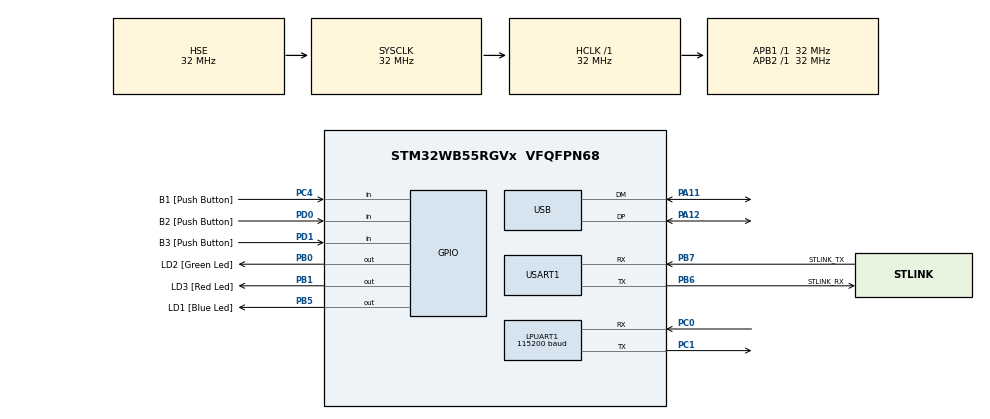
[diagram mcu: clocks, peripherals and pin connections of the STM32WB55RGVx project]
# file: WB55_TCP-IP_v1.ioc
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LPUART1.BaudRate=115200
Mcu.Family=STM32WB
Mcu.Name=STM32WB55RGVx
Mcu.Package=VFQFPN68
NVIC.PriorityGroup=NVIC_PRIORITYGROUP_4
OSC_IN.Mode=HSE-External-Oscillator
OSC_IN.Signal=RCC_OSC_IN
OSC_OUT.Mode=HSE-External-Oscillator
OSC_OUT.Signal=RCC_OSC_OUT
PA11.Mode=Device
PA11.Signal=USB_DM
PA12.Mode=Device
PA12.Signal=USB_DP
PA13.GPIO_Label=JTMS
PA13.Mode=Trace_Asynchronous_SW
PA13.Signal=SYS_JTMS-SWDIO
PA14.GPIO_Label=JTCK
PA14.Mode=Trace_Asynchronous_SW
PA14.Signal=SYS_JTCK-SWCLK
PB0.GPIO_Label=LD2 [Green Led]
PB0.Signal=GPIO_Output
PB1.GPIO_Label=LD3 [Red Led]
PB1.Signal=GPIO_Output
PB3.GPIO_Label=JTDO
PB3.Mode=Trace_Asynchronous_SW
PB3.Signal=SYS_JTDO-SWO
PB5.GPIO_Label=LD1 [Blue Led]
PB5.Signal=GPIO_Output
PB6.GPIO_Label=STLINK_RX
PB6.GPIO_PuPd=GPIO_PULLUP
PB6.Mode=Asynchronous
PB6.Signal=USART1_TX
PB7.GPIO_Label=STLINK_TX
PB7.GPIO_PuPd=GPIO_PULLUP
PB7.Mode=Asynchronous
PB7.Signal=USART1_RX
PC0.Mode=Asynchronous
PC0.Signal=LPUART1_RX
PC1.Mode=Asynchronous
PC1.Signal=LPUART1_TX
PC13.Mode=SYS_WakeUp1
PC13.Signal=SYS_WKUP2
PC14-OSC32_IN.Mode=LSE-External-Oscillator
PC14-OSC32_IN.Signal=RCC_OSC32_IN
PC15-OSC32_OUT.Mode=LSE-External-Oscillator
PC15-OSC32_OUT.Signal=RCC_OSC32_OUT
PC4.GPIO_Label=B1 [Push Button]
PC4.Signal=GPIO_Input
PD0.GPIO_Label=B2 [Push Button]
PD0.Signal=GPIO_Input
PD1.GPIO_Label=B3 [Push Button]
PD1.Signal=GPIO_Input
ProjectManager.HeapSize=0x200
ProjectManager.StackSize=0x400
ProjectManager.TargetToolchain=STM32CubeIDE
RCC.ADCFreq_Value=48000000
RCC.AHBFreq_Value=32000000
RCC.APB1Freq_Value=32000000
RCC.APB1TimFreq_Value=32000000
RCC.APB2Freq_Value=32000000
RCC.APB2TimFreq_Value=32000000
RCC.APB3Freq_Value=16000000
RCC.CortexFreq_Value=32000000
RCC.HCLKFreq_Value=32000000
RCC.HSE_VALUE=32000000
RCC.HSI48_VALUE=48000000
RCC.HSI_VALUE=16000000
RCC.PLLN=32
RCC.PLLSAI1N=24
RCC.SMPSCLockSelectionVirtual=RCC_SMPSCLKSOURCE_HSI
RCC.SMPSCLockSelectionVirtualVirtual=RCC_SMPSCLKSOURCE_HSI
RCC.SMPSDivider=1
RCC.SYSCLKFreq_VALUE=32000000
RCC.SYSCLKSource=RCC_SYSCLKSOURCE_HSE
RCC.USBFreq_Value=48000000
RCC.VCOOutputFreq_Value=128000000
USART1.VirtualMode-Asynchronous=VM_ASYNC
USART1.WordLength=WORDLENGTH_8B
board=P-NUCLEO-WB55-Nucleo

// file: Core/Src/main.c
/* USER CODE BEGIN Header */
/**
  ******************************************************************************
  * @file           : main.c
  * @brief          : Main program body
  ******************************************************************************
  * @attention
  *
  * <h2><center>&copy; Copyright (c) 2022 STMicroelectronics.
  * All rights reserved.</center></h2>
  *
  * This software component is licensed by ST under BSD 3-Clause license,
  * the "License"; You may not use this file except in compliance with the
  * License. You may obtain a copy of the License at:
  *                        opensource.org/licenses/BSD-3-Clause
  *
  ******************************************************************************
  */
/* USER CODE END Header */
#include "main.h"

/* USER CODE BEGIN Includes */
#include <string.h>
#include "bg95.h"
/* USER CODE END Includes */

UART_HandleTypeDef hlpuart1;
UART_HandleTypeDef huart1;

PCD_HandleTypeDef hpcd_USB_FS;

void SystemClock_Config(void);
static void MX_GPIO_Init(void);
static void MX_USART1_UART_Init(void);
static void MX_USB_PCD_Init(void);
static void MX_LPUART1_UART_Init(void);

int main(void)
{

  /* MCU Configuration--------------------------------------------------------*/

  /* Reset of all peripherals, Initializes the Flash interface and the Systick. */
  HAL_Init();

  /* Configure the system clock */
  SystemClock_Config();

  /* Initialize all configured peripherals */
  MX_GPIO_Init();
  MX_USART1_UART_Init();
  MX_USB_PCD_Init();
  MX_LPUART1_UART_Init();
  /* USER CODE BEGIN 2 */

  BG95_TypeDef bg95;
  bg95.handler = &hlpuart1;
  resetData(&bg95);
  uint8_t resultCode[21];
  memset(resultCode,0,21);

  resultCode[19] = initDevice(&bg95); // app

  /* USER CODE END 2 */

  /* Infinite loop */
  /* USER CODE BEGIN WHILE */
  while (1)
  {
	  if (resultCode[19] == 0) {
		  resultCode[1] = getQgmr(&bg95);
		  resultCode[0] = getCsq(&bg95);
		  if ((resultCode[0] == 0) && (bg95.csq.rssi != 0x52) && (bg95.csq.rssi != 99)) { // 0x52: R meaning reset cond.
			  resultCode[2] = sendWriteReceiveAtCommand(&bg95, "CREG", "2");
			  resultCode[3] = getCreg(&bg95);
			  if (bg95.creg.stat == 1) // Registered, home network
			  {
				  resultCode[4] = getCops(&bg95);
				  resultCode[5] = setTcpIpContext(&bg95, 1, 1, "internet", "", "", 1);
				  if (resultCode[5] == 0) {
					  resultCode[6] = sendWriteReceiveAtCommandT(&bg95, "QIACT", "1",2000);  // Activate PDP context with ID 1
					  if (resultCode[6] == 0) {
						  resultCode[7] = getQiact(&bg95);
						  uint8_t size = strlen((char*)bg95.qiact.ip);
						  uint8_t count = 0;
						  for (int i=0; i<size; i++) if(bg95.qiact.ip[i] == 0x2E) count++; // 0x2E: .
						  if((count == 3) && (bg95.qiact.cState == 1)) {
							  resultCode[8] = openSocketService(&bg95, 1, 0, "TCP", "184.106.153.149", 80, 0, 1);
							  if (resultCode[8] == 0) {
								  // Done for now. Socket open.
								  resultCode[9] = sendSocket(&bg95, 0, 30); // 0: bg95.qiact.cId
								  resultCode[10] = sendReceiveCommandT(&bg95, "AT+QPOWD", 1000); // Power down if success
								  resultCode[20] = 8; // Success
							  }
							  else resultCode[20] = 7; // Socket service fail
						  }
						  else resultCode[20] = 6; // ip not valid or PDP context deactivated
					  }
					  else resultCode[20] = 5; // could not activate PDP context (tcp-ip)
				  }
				  else resultCode[20] = 4; // could not set PDP context (tcp-ip)
			  }
			  else resultCode[20] = 3; // could not registred to a network
		  }
		  else resultCode[20] = 2; // rssi not valid
	  }
	  else resultCode[20] = 1; // init fail
	  if (resultCode[20] != 8)  (resultCode[9] = sendReceiveCommandT(&bg95, "AT+QPOWD", 1000)); // Power down if not success

	  /*
	  resultCode[19] = initDevice(&bg95);
	  resultCode[0] = getCsq(&bg95);
	  resultCode[1] = getQgmr(&bg95);
	  resultCode[2] = sendWriteReceiveAtCommand(&bg95, "CREG", "2");
	  resultCode[3] = getCreg(&bg95);
	  resultCode[4] = getCops(&bg95);
	  resultCode[5] = setTcpIpContext(&bg95, 1, 1, "internet", "", "", 1);
	  resultCode[6] = sendWriteReceiveAtCommandT(&bg95, "QIACT", "1",2000);  // Activate PDP context with ID 1
	  resultCode[7] = getQiact(&bg95);
	  resultCode[8] = setSocketService(&bg95, 1, 0, "TCP", "184.106.153.149", 80, 0, 1);
	  //resultCode[9] = sendWriteReceiveAtCommand(&bg95, "QIDEACT", "1");  // Activate PDP context with ID 1
	  resultCode[9] = resetDevice(&bg95);
	  */
	  HAL_Delay(1000);

    /* USER CODE END WHILE */

  }
}

void SystemClock_Config(void)
{
  RCC_OscInitTypeDef RCC_OscInitStruct = {0};
  RCC_ClkInitTypeDef RCC_ClkInitStruct = {0};
  RCC_PeriphCLKInitTypeDef PeriphClkInitStruct = {0};

  /** Macro to configure the PLL multiplication factor
  */
  __HAL_RCC_PLL_PLLM_CONFIG(RCC_PLLM_DIV1);
  /** Macro to configure the PLL clock source
  */
  __HAL_RCC_PLL_PLLSOURCE_CONFIG(RCC_PLLSOURCE_MSI);
  /** Configure LSE Drive Capability
  */
  HAL_PWR_EnableBkUpAccess();
  __HAL_RCC_LSEDRIVE_CONFIG(RCC_LSEDRIVE_LOW);
  /** Configure the main internal regulator output voltage
  */
  __HAL_PWR_VOLTAGESCALING_CONFIG(PWR_REGULATOR_VOLTAGE_SCALE1);
  /** Initializes the RCC Oscillators according to the specified parameters
  * in the RCC_OscInitTypeDef structure.
  */
  RCC_OscInitStruct.OscillatorType = RCC_OSCILLATORTYPE_HSI|RCC_OSCILLATORTYPE_HSE
                              |RCC_OSCILLATORTYPE_LSE|RCC_OSCILLATORTYPE_MSI;
  RCC_OscInitStruct.HSEState = RCC_HSE_ON;
  RCC_OscInitStruct.LSEState = RCC_LSE_ON;
  RCC_OscInitStruct.HSIState = RCC_HSI_ON;
  RCC_OscInitStruct.MSIState = RCC_MSI_ON;
  RCC_OscInitStruct.HSICalibrationValue = RCC_HSICALIBRATION_DEFAULT;
  RCC_OscInitStruct.MSICalibrationValue = RCC_MSICALIBRATION_DEFAULT;
  RCC_OscInitStruct.MSIClockRange = RCC_MSIRANGE_6;
  RCC_OscInitStruct.PLL.PLLState = RCC_PLL_NONE;
  if (HAL_RCC_OscConfig(&RCC_OscInitStruct) != HAL_OK)
  {
    Error_Handler();
  }
  /** Configure the SYSCLKSource, HCLK, PCLK1 and PCLK2 clocks dividers
  */
  RCC_ClkInitStruct.ClockType = RCC_CLOCKTYPE_HCLK4|RCC_CLOCKTYPE_HCLK2
                              |RCC_CLOCKTYPE_HCLK|RCC_CLOCKTYPE_SYSCLK
                              |RCC_CLOCKTYPE_PCLK1|RCC_CLOCKTYPE_PCLK2;
  RCC_ClkInitStruct.SYSCLKSource = RCC_SYSCLKSOURCE_HSE;
  RCC_ClkInitStruct.AHBCLKDivider = RCC_SYSCLK_DIV1;
  RCC_ClkInitStruct.APB1CLKDivider = RCC_HCLK_DIV1;
  RCC_ClkInitStruct.APB2CLKDivider = RCC_HCLK_DIV1;
  RCC_ClkInitStruct.AHBCLK2Divider = RCC_SYSCLK_DIV1;
  RCC_ClkInitStruct.AHBCLK4Divider = RCC_SYSCLK_DIV1;

  if (HAL_RCC_ClockConfig(&RCC_ClkInitStruct, FLASH_LATENCY_1) != HAL_OK)
  {
    Error_Handler();
  }
  /** Initializes the peripherals clocks
  */
  PeriphClkInitStruct.PeriphClockSelection = RCC_PERIPHCLK_SMPS|RCC_PERIPHCLK_USART1
                              |RCC_PERIPHCLK_LPUART1|RCC_PERIPHCLK_USB;
  PeriphClkInitStruct.PLLSAI1.PLLN = 24;
  PeriphClkInitStruct.PLLSAI1.PLLP = RCC_PLLP_DIV2;
  PeriphClkInitStruct.PLLSAI1.PLLQ = RCC_PLLQ_DIV2;
  PeriphClkInitStruct.PLLSAI1.PLLR = RCC_PLLR_DIV2;
  PeriphClkInitStruct.PLLSAI1.PLLSAI1ClockOut = RCC_PLLSAI1_USBCLK;
  PeriphClkInitStruct.Usart1ClockSelection = RCC_USART1CLKSOURCE_PCLK2;
  PeriphClkInitStruct.Lpuart1ClockSelection = RCC_LPUART1CLKSOURCE_PCLK1;
  PeriphClkInitStruct.UsbClockSelection = RCC_USBCLKSOURCE_PLLSAI1;
  PeriphClkInitStruct.SmpsClockSelection = RCC_SMPSCLKSOURCE_HSI;
  PeriphClkInitStruct.SmpsDivSelection = RCC_SMPSCLKDIV_RANGE0;
  if (HAL_RCCEx_PeriphCLKConfig(&PeriphClkInitStruct) != HAL_OK)
  {
    Error_Handler();
  }
  /** Enable MSI Auto calibration
  */
  HAL_RCCEx_EnableMSIPLLMode();
}

static void MX_LPUART1_UART_Init(void)
{

  hlpuart1.Instance = LPUART1;
  hlpuart1.Init.BaudRate = 115200;
  hlpuart1.Init.WordLength = UART_WORDLENGTH_8B;
  hlpuart1.Init.StopBits = UART_STOPBITS_1;
  hlpuart1.Init.Parity = UART_PARITY_NONE;
  hlpuart1.Init.Mode = UART_MODE_TX_RX;
  hlpuart1.Init.HwFlowCtl = UART_HWCONTROL_NONE;
  hlpuart1.Init.OneBitSampling = UART_ONE_BIT_SAMPLE_DISABLE;
  hlpuart1.Init.ClockPrescaler = UART_PRESCALER_DIV1;
  hlpuart1.AdvancedInit.AdvFeatureInit = UART_ADVFEATURE_NO_INIT;
  hlpuart1.FifoMode = UART_FIFOMODE_DISABLE;
  if (HAL_UART_Init(&hlpuart1) != HAL_OK)
  {
    Error_Handler();
  }
  if (HAL_UARTEx_SetTxFifoThreshold(&hlpuart1, UART_TXFIFO_THRESHOLD_1_8) != HAL_OK)
  {
    Error_Handler();
  }
  if (HAL_UARTEx_SetRxFifoThreshold(&hlpuart1, UART_RXFIFO_THRESHOLD_1_8) != HAL_OK)
  {
    Error_Handler();
  }
  if (HAL_UARTEx_DisableFifoMode(&hlpuart1) != HAL_OK)
  {
    Error_Handler();
  }

}

static void MX_USART1_UART_Init(void)
{

  huart1.Instance = USART1;
  huart1.Init.BaudRate = 115200;
  huart1.Init.WordLength = UART_WORDLENGTH_8B;
  huart1.Init.StopBits = UART_STOPBITS_1;
  huart1.Init.Parity = UART_PARITY_NONE;
  huart1.Init.Mode = UART_MODE_TX_RX;
  huart1.Init.HwFlowCtl = UART_HWCONTROL_NONE;
  huart1.Init.OverSampling = UART_OVERSAMPLING_16;
  huart1.Init.OneBitSampling = UART_ONE_BIT_SAMPLE_DISABLE;
  huart1.Init.ClockPrescaler = UART_PRESCALER_DIV1;
  huart1.AdvancedInit.AdvFeatureInit = UART_ADVFEATURE_NO_INIT;
  if (HAL_UART_Init(&huart1) != HAL_OK)
  {
    Error_Handler();
  }
  if (HAL_UARTEx_SetTxFifoThreshold(&huart1, UART_TXFIFO_THRESHOLD_1_8) != HAL_OK)
  {
    Error_Handler();
  }
  if (HAL_UARTEx_SetRxFifoThreshold(&huart1, UART_RXFIFO_THRESHOLD_1_8) != HAL_OK)
  {
    Error_Handler();
  }
  if (HAL_UARTEx_DisableFifoMode(&huart1) != HAL_OK)
  {
    Error_Handler();
  }

}

static void MX_USB_PCD_Init(void)
{

  hpcd_USB_FS.Instance = USB;
  hpcd_USB_FS.Init.dev_endpoints = 8;
  hpcd_USB_FS.Init.speed = PCD_SPEED_FULL;
  hpcd_USB_FS.Init.phy_itface = PCD_PHY_EMBEDDED;
  hpcd_USB_FS.Init.Sof_enable = DISABLE;
  hpcd_USB_FS.Init.low_power_enable = DISABLE;
  hpcd_USB_FS.Init.lpm_enable = DISABLE;
  hpcd_USB_FS.Init.battery_charging_enable = DISABLE;
  if (HAL_PCD_Init(&hpcd_USB_FS) != HAL_OK)
  {
    Error_Handler();
  }

}

static void MX_GPIO_Init(void)
{
  GPIO_InitTypeDef GPIO_InitStruct = {0};

  /* GPIO Ports Clock Enable */
  __HAL_RCC_GPIOC_CLK_ENABLE();
  __HAL_RCC_GPIOB_CLK_ENABLE();
  __HAL_RCC_GPIOA_CLK_ENABLE();
  __HAL_RCC_GPIOD_CLK_ENABLE();

  /*Configure GPIO pin Output Level */
  HAL_GPIO_WritePin(GPIOB, LD2_Pin|LD3_Pin|LD1_Pin, GPIO_PIN_RESET);

  /*Configure GPIO pin : B1_Pin */
  GPIO_InitStruct.Pin = B1_Pin;
  GPIO_InitStruct.Mode = GPIO_MODE_INPUT;
  GPIO_InitStruct.Pull = GPIO_NOPULL;
  HAL_GPIO_Init(B1_GPIO_Port, &GPIO_InitStruct);

  /*Configure GPIO pins : LD2_Pin LD3_Pin LD1_Pin */
  GPIO_InitStruct.Pin = LD2_Pin|LD3_Pin|LD1_Pin;
  GPIO_InitStruct.Mode = GPIO_MODE_OUTPUT_PP;
  GPIO_InitStruct.Pull = GPIO_NOPULL;
  GPIO_InitStruct.Speed = GPIO_SPEED_FREQ_LOW;
  HAL_GPIO_Init(GPIOB, &GPIO_InitStruct);

  /*Configure GPIO pins : B2_Pin B3_Pin */
  GPIO_InitStruct.Pin = B2_Pin|B3_Pin;
  GPIO_InitStruct.Mode = GPIO_MODE_INPUT;
  GPIO_InitStruct.Pull = GPIO_NOPULL;
  HAL_GPIO_Init(GPIOD, &GPIO_InitStruct);

}

void Error_Handler(void)
{
  __disable_irq();
  while (1)
  {
  }
}

/************************ (C) COPYRIGHT STMicroelectronics *****END OF FILE****/
